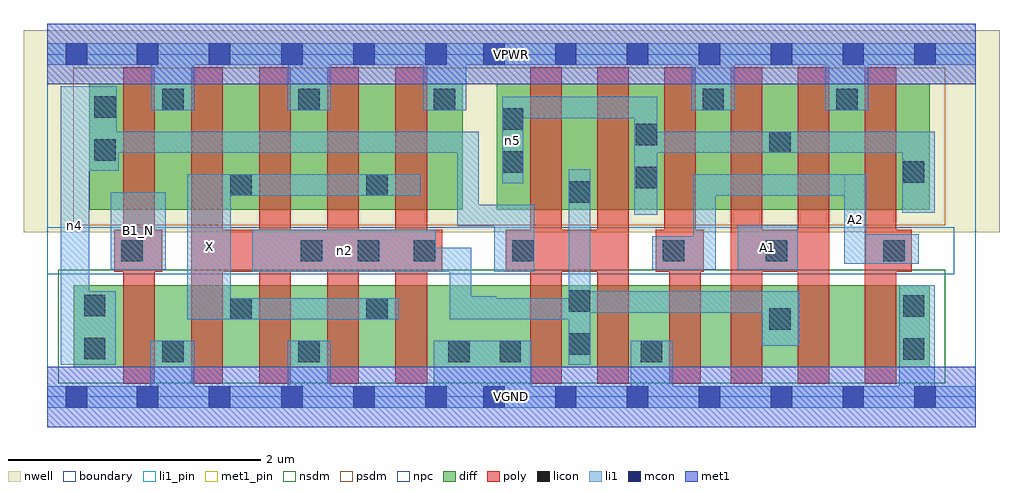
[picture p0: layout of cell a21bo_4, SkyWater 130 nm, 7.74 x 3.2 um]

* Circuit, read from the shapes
.subckt a21bo_4 A1 A2 B1_N VGND VPWR X n2 n4 n5
XM1 VGND B1_N n4 VSUBS sky130_fd_pr__nfet_01v8 w=0.65 l=0.25
XM2 X n2 VGND VSUBS sky130_fd_pr__nfet_01v8 w=0.65 l=0.25 m=4
XM3 n2 n4 VGND VSUBS sky130_fd_pr__nfet_01v8 w=0.65 l=0.25 m=2
XM4 n1 A2 VGND VSUBS sky130_fd_pr__nfet_01v8 w=0.65 l=0.25
XM5 n2 A1 n1 VSUBS sky130_fd_pr__nfet_01v8 w=0.65 l=0.25
XM6 n3 A1 n2 VSUBS sky130_fd_pr__nfet_01v8 w=0.65 l=0.25
XM7 VGND A2 n3 VSUBS sky130_fd_pr__nfet_01v8 w=0.65 l=0.25
XM8 VPWR B1_N n4 n6 sky130_fd_pr__pfet_01v8 w=1 l=0.25
XM9 X n2 VPWR n6 sky130_fd_pr__pfet_01v8 w=1 l=0.25 m=4
XM10 n2 n4 n5 n6 sky130_fd_pr__pfet_01v8 w=1 l=0.25 m=2
XM11 VPWR A2 n5 n6 sky130_fd_pr__pfet_01v8 w=1 l=0.25 m=2
XM12 n5 A1 VPWR n6 sky130_fd_pr__pfet_01v8 w=1 l=0.25 m=2
.ends

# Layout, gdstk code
import gdstk
lib = gdstk.Library(unit=1e-6, precision=1e-09)
def R(c, l, rs):  # rectangles x0, y0, x1, y1
    for r in rs: c.add(gdstk.rectangle(r[:2], r[2:], *l))
def A(c, l, x, y, w, h, nx, ny, dx, dy):  # array of equal rectangles
    R(c, l, [(x+i*dx, y+j*dy, x+i*dx+w, y+j*dy+h) for i in range(nx) for j in range(ny)])
nwell = (64, 20)
diff = (65, 20)
poly = (66, 20)
licon = (66, 44)
li1_pin = (67, 16)
li1 = (67, 20)
mcon = (67, 44)
met1_pin = (68, 16)
met1 = (68, 20)
nsdm = (93, 44)
psdm = (94, 20)
npc = (95, 20)
boundary = (235, 4)

a21bo_4 = lib.new_cell('a21bo_4')
R(a21bo_4, nwell, [(-0.19,1.305,7.55,2.91), (0,1.305,7.36,2.91)])
R(a21bo_4, diff, [(0.21,0.235,6.995,0.885), (0.33,1.485,3.295,2.485), (3.565,1.485,6.995,2.485)])
A(a21bo_4, poly, 0.6, 0.105, 0.25, 2.51, 5, 1, 0.54, 0)
A(a21bo_4, poly, 5.42, 0.105, 0.25, 2.51, 3, 1, 0.53, 0)
R(a21bo_4, poly, [(3.83,0.105,4.08,2.615), (4.36,0.105,4.61,2.615), (4.93,0.105,5.18,1.325), (0.53,0.995,0.91,1.325), (1.14,0.995,3.13,1.325), (3.635,0.995,4.61,1.325), (4.825,0.995,5.205,1.325), (4.89,0.995,5.14,2.615), (5.42,0.995,6.2,1.325), (6.48,0.995,6.855,1.325)])
R(a21bo_4, licon, [(0.91,0.275,1.08,0.445), (1.99,0.275,2.16,0.445), (3.18,0.275,3.35,0.445), (3.585,0.275,3.755,0.445), (4.705,0.275,4.875,0.445), (6.785,0.295,6.955,0.465), (0.29,0.3,0.46,0.47), (4.135,0.335,4.305,0.505), (5.725,0.535,5.895,0.705), (1.45,0.615,1.62,0.785), (2.53,0.615,2.7,0.785), (6.785,0.635,6.955,0.805), (0.29,0.64,0.46,0.81), (4.135,0.675,4.305,0.845), (0.585,1.075,0.755,1.245), (2.01,1.075,2.18,1.245), (2.46,1.075,2.63,1.245), (2.905,1.075,3.075,1.245), (3.685,1.075,3.855,1.245), (4.88,1.075,5.05,1.245), (5.695,1.075,5.865,1.245), (6.63,1.075,6.8,1.245), (4.135,1.54,4.305,1.71), (1.45,1.595,1.62,1.765), (2.53,1.595,2.7,1.765), (4.665,1.655,4.835,1.825), (6.785,1.7,6.955,1.87), (3.605,1.78,3.775,1.95), (0.37,1.875,0.54,2.045), (5.725,1.935,5.895,2.105), (4.665,1.995,4.835,2.165), (3.605,2.12,3.775,2.29), (0.37,2.215,0.54,2.385), (0.91,2.275,1.08,2.445), (1.99,2.275,2.16,2.445), (3.065,2.275,3.235,2.445), (5.195,2.275,5.365,2.445), (6.255,2.275,6.425,2.445)])
R(a21bo_4, li1_pin, [(1.11,0.615,1.455,1.765), (0.5,1.01,0.94,1.625), (5.475,1.01,5.95,1.36), (6.32,1.055,6.495,1.765)])
R(a21bo_4, li1, [(0,-0.085,7.36,0.085), (0.815,-0.085,1.165,0.445), (1.905,-0.085,2.245,0.445), (3.065,-0.085,3.84,0.445), (4.625,-0.085,4.96,0.445), (6.755,-0.085,7.035,0.885), (0.105,0.255,0.33,2.465), (0.105,0.255,0.54,0.84), (4.135,0.255,4.305,1.805), (5.67,0.405,5.96,0.84), (1.11,0.615,1.455,1.765), (1.11,0.615,2.785,0.785), (3.19,0.615,4.305,0.785), (3.19,0.615,3.36,1.185), (3.19,0.615,3.56,0.8), (4.135,0.67,5.96,0.84), (1.625,0.995,3.08,1.325), (1.625,0.995,3.36,1.185), (3.545,0.995,3.86,1.525), (0.5,1.01,0.94,1.625), (4.795,1.01,5.3,1.275), (5.12,1.01,5.3,1.765), (5.475,1.01,5.95,1.36), (6.32,1.055,6.91,1.29), (6.32,1.055,6.495,1.765), (3.25,1.355,3.42,2.105), (3.25,1.355,3.86,1.525), (4.655,1.445,4.835,2.38), (6.78,1.46,7.035,2.105), (1.11,1.595,2.955,1.765), (5.12,1.595,6.495,1.765), (3.605,1.695,3.775,2.38), (0.105,1.795,0.55,2.465), (0.105,1.795,0.565,2.105), (0.105,1.935,3.42,2.105), (4.655,1.935,7.035,2.105), (3.605,2.21,4.835,2.38), (0.825,2.275,1.165,2.805), (1.905,2.275,2.245,2.805), (2.98,2.275,3.32,2.805), (5.11,2.275,5.45,2.805), (6.17,2.275,6.51,2.805), (0,2.635,7.36,2.805)])
A(a21bo_4, mcon, 1.855, -0.085, 0.17, 0.17, 3, 2, 0.57, 2.72)
A(a21bo_4, mcon, 3.455, -0.085, 0.17, 0.17, 7, 2, 0.57, 2.72)
R(a21bo_4, mcon, [(0.145,-0.085,0.315,0.085), (0.71,-0.085,0.88,0.085), (1.28,-0.085,1.45,0.085), (0.145,2.635,0.315,2.805), (0.71,2.635,0.88,2.805), (1.28,2.635,1.45,2.805)])
R(a21bo_4, met1_pin, [(0,-0.24,7.36,0.24), (0,2.48,7.36,2.96)])
R(a21bo_4, met1, [(0,-0.24,7.36,0.24), (0,2.48,7.36,2.96)])
R(a21bo_4, nsdm, [(0.085,0.11,7.12,1.01)])
R(a21bo_4, psdm, [(0.205,1.36,7.12,2.61)])
R(a21bo_4, npc, [(0,0.975,7.19,1.345)])
R(a21bo_4, boundary, [(0,0,7.36,2.72)])
a21bo_4.add(gdstk.Label('A1', (5.712,1.185), layer=67, texttype=5))
a21bo_4.add(gdstk.Label('A2', (6.407,1.41), layer=67, texttype=5))
a21bo_4.add(gdstk.Label('B1_N', (0.72,1.317), layer=67, texttype=5))
a21bo_4.add(gdstk.Label('X', (1.282,1.19), layer=67, texttype=5))
a21bo_4.add(gdstk.Label('n2', (2.352,1.16), layer=67, texttype=5))
a21bo_4.add(gdstk.Label('n5', (3.69,2.037), layer=67, texttype=5))
a21bo_4.add(gdstk.Label('n4', (0.217,1.36), layer=67, texttype=5))
a21bo_4.add(gdstk.Label('VPWR', (3.68,2.72), layer=68, texttype=5))
a21bo_4.add(gdstk.Label('VGND', (3.68,0), layer=68, texttype=5))
a21bo_4.add(gdstk.Label('A1', (5.712,1.185), layer=67, texttype=16))
a21bo_4.add(gdstk.Label('A2', (6.407,1.41), layer=67, texttype=16))
a21bo_4.add(gdstk.Label('B1_N', (0.72,1.317), layer=67, texttype=16))
a21bo_4.add(gdstk.Label('X', (1.282,1.19), layer=67, texttype=16))
a21bo_4.add(gdstk.Label('VPWR', (3.68,2.72), layer=68, texttype=16))
a21bo_4.add(gdstk.Label('VGND', (3.68,0), layer=68, texttype=16))

lib.write_gds('a21bo_4.gds')
